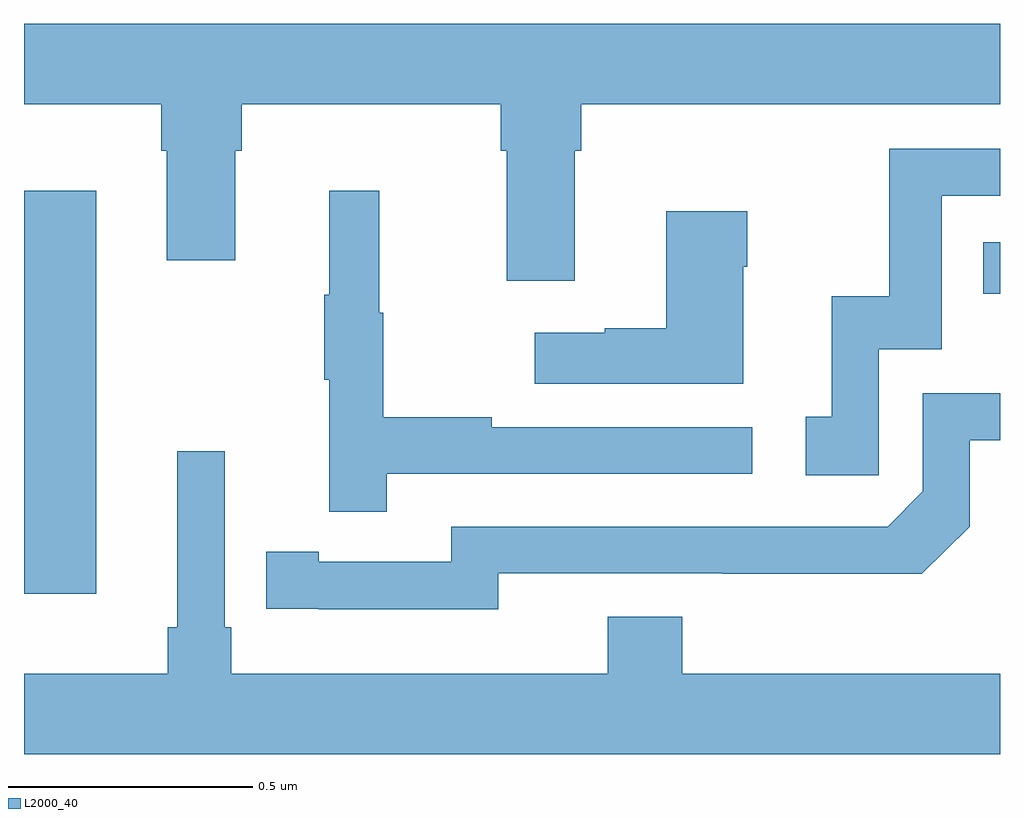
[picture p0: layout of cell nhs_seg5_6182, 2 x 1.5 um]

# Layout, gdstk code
import gdstk
lib = gdstk.Library(unit=1e-6, precision=1e-09)
def R(c, l, rs):  # rectangles x0, y0, x1, y1
    for r in rs: c.add(gdstk.rectangle(r[:2], r[2:], *l))
def P(c, l, *ps):  # polygons
    for p in ps: c.add(gdstk.Polygon(p, *l))
L2000_40 = (2000, 40)

nhs_seg5_6182 = lib.new_cell('nhs_seg5_6182')
R(nhs_seg5_6182, L2000_40, [(192,906.372,192.148,907.198), (193.966,906.987,194,907.093)])
P(nhs_seg5_6182, L2000_40, [(193.129,907.28),(193.142,907.28),(193.142,907.376),(194,907.376),(194,907.54),(192,907.54),(192,907.376),(192.281,907.376),(192.281,907.28),(192.293,907.28),(192.293,907.056),(192.433,907.056),(192.433,907.28),(192.446,907.28),(192.446,907.376),(192.977,907.376),(192.977,907.28),(192.989,907.28),(192.989,907.014),(193.129,907.014)],
  [(193.752,906.873),(193.881,906.873),(193.881,907.188),(194,907.188),(194,907.284),(193.773,907.284),(193.773,906.982),(193.655,906.982),(193.655,906.735),(193.602,906.735),(193.602,906.615),(193.752,906.615)],
  [(192.743,906.618),(193.492,906.618),(193.492,906.714),(192.959,906.714),(192.959,906.734),(192.736,906.734),(192.736,906.948),(192.728,906.948),(192.728,907.198),(192.626,907.198),(192.626,906.985),(192.615,906.985),(192.615,906.811),(192.626,906.811),(192.626,906.54),(192.743,906.54)],
  [(193.474,907.043),(193.482,907.043),(193.482,907.156),(193.316,907.156),(193.316,906.917),(193.19,906.917),(193.19,906.907),(193.047,906.907),(193.047,906.803),(193.474,906.803)],
  [(192.972,906.414),(193.432,906.414),(193.432,906.413),(193.84,906.413),(193.938,906.51),(193.938,906.687),(194,906.687),(194,906.783),(193.842,906.783),(193.842,906.582),(193.77,906.51),(192.876,906.51),(192.876,906.438),(192.604,906.438),(192.604,906.458),(192.496,906.458),(192.496,906.342),(192.604,906.342),(192.604,906.341),(192.972,906.341)],
  [(194,906.208),(193.349,906.208),(193.349,906.325),(193.196,906.325),(193.196,906.208),(192.425,906.208),(192.425,906.304),(192.411,906.304),(192.411,906.664),(192.314,906.664),(192.314,906.304),(192.295,906.304),(192.295,906.208),(192,906.208),(192,906.044),(194,906.044)])

lib.write_gds('nhs_seg5_6182.gds')
